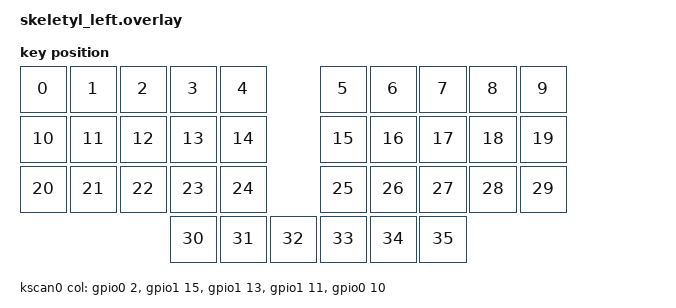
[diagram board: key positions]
#include <dt-bindings/zmk/matrix_transform.h>
#include "../../nice_nano_v2.overlay"

/ {
    chosen {
        zmk,underglow = &led_strip;
        zmk,kscan = &kscan0;
        zmk,physical-layout = &skeletyl_layout;
    };

    skeletyl_layout: skeletyl_layout {
        compatible = "zmk,physical-layout";
        display-name = "Skeletyl Layout";
        transform = <&default_transform>;
        kscan = <&kscan0>;
        keys = <
            /* Left Hand - Row 0 */
            &key_physical_attrs 100 100 0 0 0 0 0
            &key_physical_attrs 100 100 100 0 0 0 0
            &key_physical_attrs 100 100 200 0 0 0 0
            &key_physical_attrs 100 100 300 0 0 0 0
            &key_physical_attrs 100 100 400 0 0 0 0
            /* Right Hand - Row 0 */
            &key_physical_attrs 100 100 600 0 0 0 0
            &key_physical_attrs 100 100 700 0 0 0 0
            &key_physical_attrs 100 100 800 0 0 0 0
            &key_physical_attrs 100 100 900 0 0 0 0
            &key_physical_attrs 100 100 1000 0 0 0 0

            /* Left Hand - Row 1 */
            &key_physical_attrs 100 100 0 100 0 0 0
            &key_physical_attrs 100 100 100 100 0 0 0
            &key_physical_attrs 100 100 200 100 0 0 0
            &key_physical_attrs 100 100 300 100 0 0 0
            &key_physical_attrs 100 100 400 100 0 0 0
            /* Right Hand - Row 1 */
            &key_physical_attrs 100 100 600 100 0 0 0
            &key_physical_attrs 100 100 700 100 0 0 0
            &key_physical_attrs 100 100 800 100 0 0 0
            &key_physical_attrs 100 100 900 100 0 0 0
            &key_physical_attrs 100 100 1000 100 0 0 0

            /* Left Hand - Row 2 */
            &key_physical_attrs 100 100 0 200 0 0 0
            &key_physical_attrs 100 100 100 200 0 0 0
            &key_physical_attrs 100 100 200 200 0 0 0
            &key_physical_attrs 100 100 300 200 0 0 0
            &key_physical_attrs 100 100 400 200 0 0 0
            /* Right Hand - Row 2 */
            &key_physical_attrs 100 100 600 200 0 0 0
            &key_physical_attrs 100 100 700 200 0 0 0
            &key_physical_attrs 100 100 800 200 0 0 0
            &key_physical_attrs 100 100 900 200 0 0 0
            &key_physical_attrs 100 100 1000 200 0 0 0

            /* Thumbs Left */
            &key_physical_attrs 100 100 300 300 0 0 0
            &key_physical_attrs 100 100 400 300 0 0 0
            &key_physical_attrs 100 100 500 300 0 0 0
            /* Thumbs Right */
            &key_physical_attrs 100 100 600 300 0 0 0
            &key_physical_attrs 100 100 700 300 0 0 0
            &key_physical_attrs 100 100 800 300 0 0 0
        >;
    };
};

&default_transform {
    col-offset = <5>;
};
&kscan0 {
    col-gpios
        = <&gpio0 2 (GPIO_ACTIVE_HIGH | GPIO_PULL_DOWN)>
        , <&gpio1 15 (GPIO_ACTIVE_HIGH | GPIO_PULL_DOWN)>
        , <&gpio1 13 (GPIO_ACTIVE_HIGH | GPIO_PULL_DOWN)>
        , <&gpio1 11 (GPIO_ACTIVE_HIGH | GPIO_PULL_DOWN)>
        , <&gpio0 10 (GPIO_ACTIVE_HIGH | GPIO_PULL_DOWN)>
        ;
};
